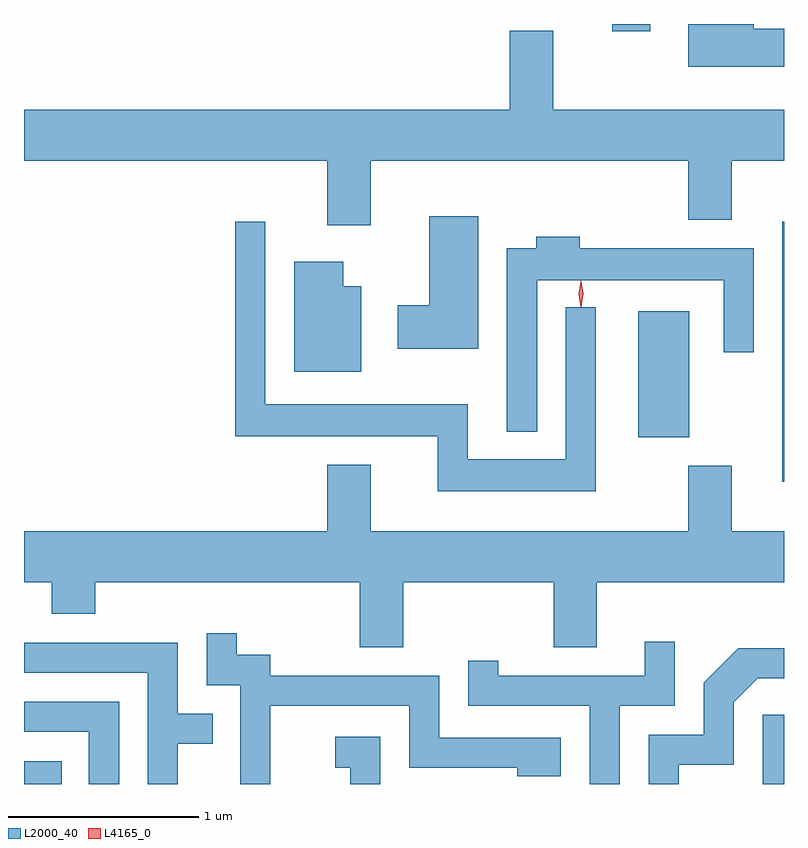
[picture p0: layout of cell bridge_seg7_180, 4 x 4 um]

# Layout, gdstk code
import gdstk
lib = gdstk.Library(unit=1e-6, precision=1e-09)
def R(c, l, rs):  # rectangles x0, y0, x1, y1
    for r in rs: c.add(gdstk.rectangle(r[:2], r[2:], *l))
def P(c, l, *ps):  # polygons
    for p in ps: c.add(gdstk.Polygon(p, *l))
L2000_40 = (2000, 40)
L4165_0 = (4165, 0)

bridge_seg7_180 = lib.new_cell('bridge_seg7_180')
R(bridge_seg7_180, L2000_40, [(1523.674,1668.855,1523.873,1668.974), (1527.561,1668.855,1527.674,1669.219), (1527.666,1670.446,1527.674,1671.813), (1526.906,1670.681,1527.174,1671.344), (1526.771,1672.816,1526.969,1672.855)])
P(bridge_seg7_180, L2000_40, [(1527.674,1672.829),(1527.514,1672.829),(1527.514,1672.855),(1527.171,1672.855),(1527.171,1672.631),(1527.674,1672.631)],
  [(1525.499,1672.136),(1527.171,1672.136),(1527.171,1671.826),(1527.399,1671.826),(1527.399,1672.136),(1527.674,1672.136),(1527.674,1672.404),(1526.459,1672.404),(1526.459,1672.819),(1526.231,1672.819),(1526.231,1672.404),(1523.674,1672.404),(1523.674,1672.136),(1525.271,1672.136),(1525.271,1671.796),(1525.499,1671.796)],
  [(1526.064,1671.844),(1525.806,1671.844),(1525.806,1671.374),(1525.641,1671.374),(1525.641,1671.146),(1526.064,1671.146)],
  [(1526.684,1671.363),(1526.526,1671.363),(1526.526,1670.564),(1526.009,1670.564),(1526.009,1670.854),(1524.944,1670.854),(1524.944,1671.813),(1524.786,1671.813),(1524.786,1670.686),(1525.851,1670.686),(1525.851,1670.396),(1526.684,1670.396)],
  [(1526.374,1671.506),(1527.356,1671.506),(1527.356,1671.128),(1527.514,1671.128),(1527.514,1671.674),(1526.599,1671.674),(1526.599,1671.734),(1526.371,1671.734),(1526.371,1671.674),(1526.216,1671.674),(1526.216,1670.708),(1526.374,1670.708)],
  [(1525.449,1671.474),(1525.354,1671.474),(1525.354,1671.604),(1525.096,1671.604),(1525.096,1671.026),(1525.449,1671.026)],
  [(1525.669,1669.916),(1526.461,1669.916),(1526.461,1669.576),(1526.689,1669.576),(1526.689,1669.916),(1527.674,1669.916),(1527.674,1670.184),(1527.399,1670.184),(1527.399,1670.529),(1527.171,1670.529),(1527.171,1670.184),(1525.499,1670.184),(1525.499,1670.534),(1525.271,1670.534),(1525.271,1670.184),(1523.674,1670.184),(1523.674,1669.916),(1523.821,1669.916),(1523.821,1669.751),(1524.049,1669.751),(1524.049,1669.916),(1525.441,1669.916),(1525.441,1669.576),(1525.669,1669.576)],
  [(1524.969,1669.266),(1525.701,1669.266),(1525.701,1668.941),(1526.271,1668.941),(1526.271,1668.896),(1526.499,1668.896),(1526.499,1669.099),(1525.859,1669.099),(1525.859,1669.424),(1524.969,1669.424),(1524.969,1669.534),(1524.794,1669.534),(1524.794,1669.648),(1524.636,1669.648),(1524.636,1669.376),(1524.811,1669.376),(1524.811,1668.855),(1524.969,1668.855)],
  [(1526.809,1669.266),(1527.099,1669.266),(1527.099,1669.603),(1526.941,1669.603),(1526.941,1669.424),(1526.169,1669.424),(1526.169,1669.503),(1526.011,1669.503),(1526.011,1669.266),(1526.651,1669.266),(1526.651,1668.855),(1526.809,1668.855)],
  [(1524.484,1669.066),(1524.668,1669.066),(1524.668,1669.224),(1524.484,1669.224),(1524.484,1669.599),(1523.674,1669.599),(1523.674,1669.441),(1524.326,1669.441),(1524.326,1668.855),(1524.484,1668.855)],
  [(1527.119,1668.956),(1527.409,1668.956),(1527.409,1669.284),(1527.537,1669.411),(1527.674,1669.411),(1527.674,1669.569),(1527.434,1669.569),(1527.251,1669.387),(1527.251,1669.114),(1526.961,1669.114),(1526.961,1668.855),(1527.119,1668.855)],
  [(1524.174,1669.289),(1523.674,1669.289),(1523.674,1669.131),(1524.016,1669.131),(1524.016,1668.855),(1524.174,1668.855)],
  [(1525.549,1669.104),(1525.313,1669.104),(1525.313,1668.941),(1525.391,1668.941),(1525.391,1668.855),(1525.549,1668.855)])
P(bridge_seg7_180, L4165_0, [(1526.603,1671.364),(1526.594,1671.433),(1526.603,1671.502),(1526.604,1671.503),(1526.604,1671.502),(1526.614,1671.433),(1526.604,1671.364),(1526.604,1671.364)],
  [(1526.606,1671.367),(1526.597,1671.434),(1526.606,1671.5),(1526.607,1671.501),(1526.607,1671.5),(1526.617,1671.434),(1526.607,1671.367),(1526.607,1671.367)])

lib.write_gds('bridge_seg7_180.gds')
